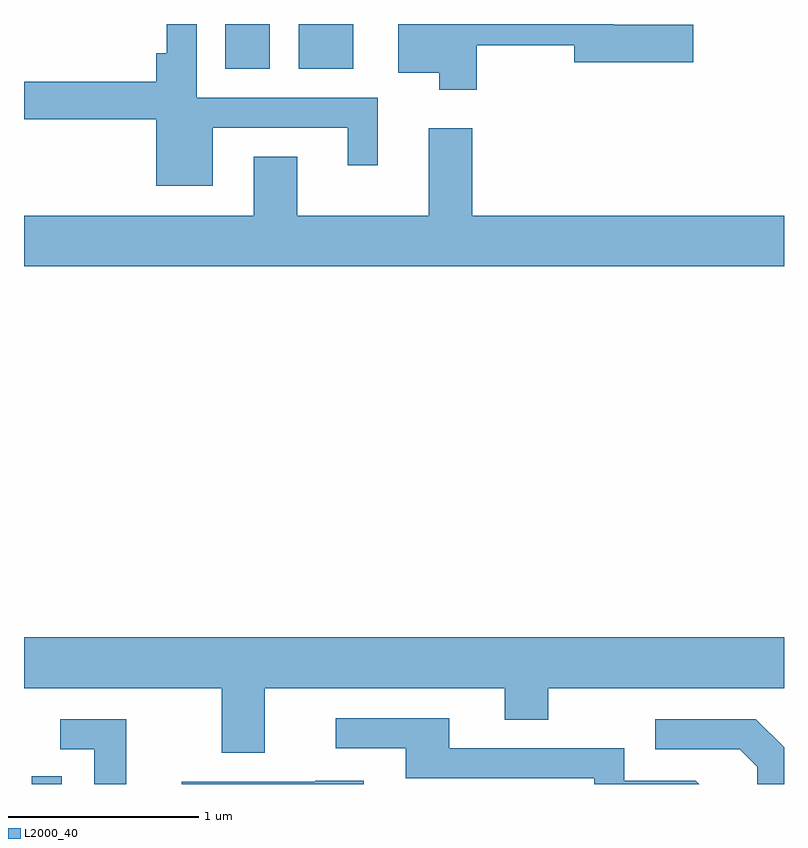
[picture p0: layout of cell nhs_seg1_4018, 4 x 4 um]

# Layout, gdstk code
import gdstk
lib = gdstk.Library(unit=1e-6, precision=1e-09)
def R(c, l, rs):  # rectangles x0, y0, x1, y1
    for r in rs: c.add(gdstk.rectangle(r[:2], r[2:], *l))
def P(c, l, *ps):  # polygons
    for p in ps: c.add(gdstk.Polygon(p, *l))
L2000_40 = (2000, 40)

nhs_seg1_4018 = lib.new_cell('nhs_seg1_4018')
R(nhs_seg1_4018, L2000_40, [(305.651,925.712,305.809,925.753), (306.671,929.476,306.904,929.712), (307.056,929.476,307.344,929.712)])
P(nhs_seg1_4018, L2000_40, [(307.994,929.601),(308.506,929.601),(308.506,929.511),(309.134,929.511),(309.134,929.709),(308.714,929.709),(308.714,929.712),(307.581,929.712),(307.581,929.456),(307.796,929.456),(307.796,929.366),(307.994,929.366)],
  [(306.604,929.166),(307.316,929.166),(307.316,928.968),(307.474,928.968),(307.474,929.324),(306.519,929.324),(306.519,929.712),(306.361,929.712),(306.361,929.559),(306.306,929.559),(306.306,929.409),(305.611,929.409),(305.611,929.211),(306.306,929.211),(306.306,928.861),(306.604,928.861)],
  [(309.611,928.704),(307.969,928.704),(307.969,929.164),(307.741,929.164),(307.741,928.704),(307.049,928.704),(307.049,929.014),(306.821,929.014),(306.821,928.704),(305.611,928.704),(305.611,928.436),(309.611,928.436)],
  [(306.879,926.216),(308.141,926.216),(308.141,926.051),(308.369,926.051),(308.369,926.216),(309.611,926.216),(309.611,926.484),(305.611,926.484),(305.611,926.216),(306.651,926.216),(306.651,925.876),(306.879,925.876)],
  [(309.147,925.729),(308.769,925.729),(308.769,925.899),(307.849,925.899),(307.849,926.059),(307.253,926.059),(307.253,925.901),(307.621,925.901),(307.621,925.741),(308.611,925.741),(308.611,925.712),(309.164,925.712)],
  [(309.611,925.905),(309.462,926.054),(308.933,926.054),(308.933,925.896),(309.379,925.896),(309.471,925.804),(309.471,925.712),(309.611,925.712)],
  [(306.149,926.054),(305.803,926.054),(305.803,925.896),(305.981,925.896),(305.981,925.712),(306.149,925.712)],
  [(307.399,925.729),(307.145,925.729),(307.145,925.724),(306.441,925.724),(306.441,925.712),(307.399,925.712)])

lib.write_gds('nhs_seg1_4018.gds')
